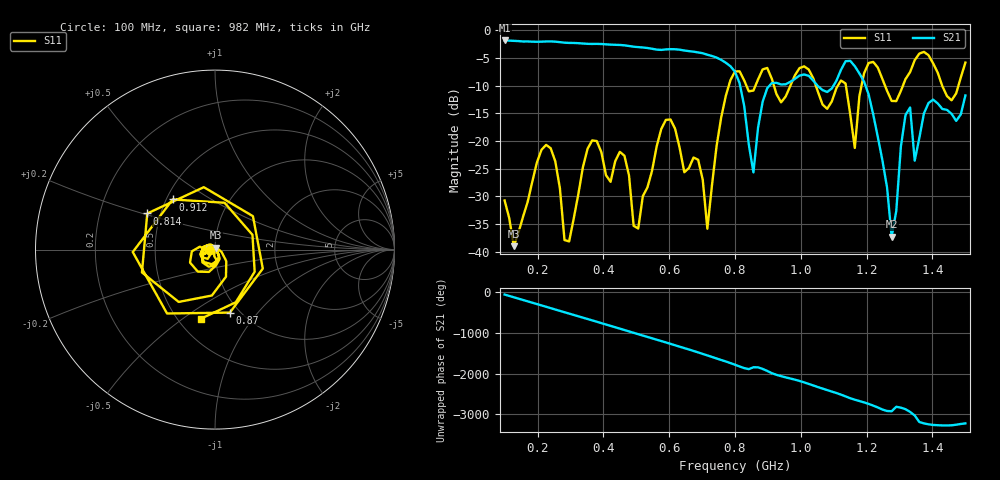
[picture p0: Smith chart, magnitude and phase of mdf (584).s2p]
! NanoVNA-App
! Date: 2025-09-25 15:42:58
! Start: 100MHz Stop: 1,5GHz Points: 101
! S-Parameter data: F S11 S21 S12 S22
# Hz S RI R 50
!  Frequency  S11_Real  S11_Imag  S21_Real  S21_Imag  S12_Real  S12_Imag  S22_Real  S22_Imag
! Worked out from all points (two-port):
!   101 points, 100 MHz to 1.5 GHz, reference 50 ohm
!   highest |S21| = -1.80 dB at 100 MHz (marker M1); lowest = -37.3 dB at 1.276 GHz (marker M2)
!   |S21| within 3 dB of the highest: start of sweep to 739.3 MHz
!   lowest |S11| = -39.0 dB at 128 MHz (marker M3), VSWR 1.02, Z = 50.3 + j1.08 ohm
!   |S11| at or under -10 dB: start of sweep to 781 MHz; 918.4 MHz to 968.1 MHz (49.74 MHz wide, 5.27 % of centre); 1.046 GHz to 1.112 GHz (66.74 MHz wide, 6.18 % of centre) (the widest 3 of 7)
!   S12 and S22 are empty: the file has one direction only
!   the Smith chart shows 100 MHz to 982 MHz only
!   S11 on the Smith chart (normalised r, x): 100 MHz: 0.94, -0.01; 814 MHz: 0.42, +0.21; 870 MHz: 0.90, -0.73; 912 MHz: 0.54, +0.35; 982 MHz: 0.64, -0.59
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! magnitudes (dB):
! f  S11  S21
! 100 MHz  -30.7  -1.8
! 128 MHz  -39.0  -1.9
! 212 MHz  -21.6  -2.0
! 282 MHz  -37.9  -2.2
! 338 MHz  -24.7  -2.4
! 464 MHz  -22.6  -2.7
! 506 MHz  -35.8  -3.0
! 576 MHz  -17.8  -3.5
! 688 MHz  -23.4  -4.0
! 716 MHz  -35.8  -4.4
! 800 MHz  -7.4  -7.5
! 814 MHz  -7.4  -9.5
! 856 MHz  -10.9  -25.7
! 870 MHz  -8.9  -17.6
! 912 MHz  -8.7  -9.5
! 982 MHz  -8.1  -8.8
! 1.038 GHz  -8.7  -9.1
! 1.164 GHz  -21.2  -6.5
! 1.192 GHz  -7.8  -9.2
! 1.276 GHz  -12.7  -37.3
! 1.318 GHz  -8.8  -15.3
! 1.5 GHz  -5.8  -11.7
